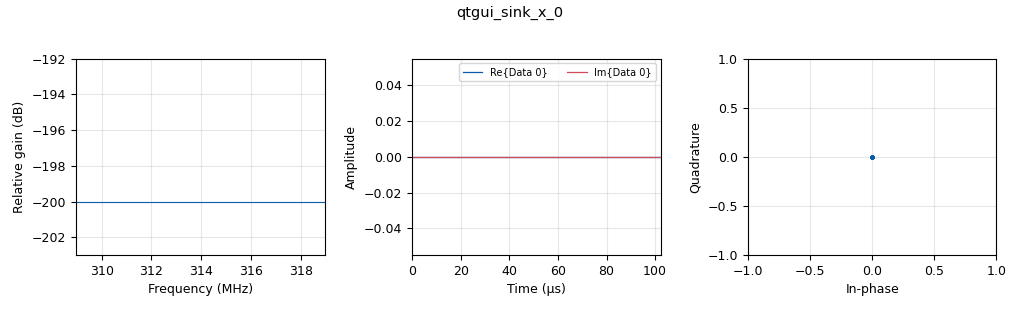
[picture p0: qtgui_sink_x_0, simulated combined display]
options:
  parameters:
    author: kesenheimer
    generate_options: qt_gui
    id: send
    output_language: python
    title: OOK sender
  states: {}

blocks:
- name: carrier
  id: variable
  parameters:
    value: 1e6
  states: {}
- name: freq
  id: variable
  parameters:
    value: '313980000'
  states: {}
- name: gain
  id: variable_qtgui_range
  parameters:
    start: '0.1'
    step: '0.1'
    stop: '10'
    value: '1'
  states: {}
- name: padding
  id: variable
  parameters:
    value: 5*"\x00"
  states: {}
- name: padding_bytes
  id: variable
  parameters:
    value: '[ord(i) for i in padding]'
  states: {}
- name: payload
  id: variable
  parameters:
    value: str("\x84\x21\x08\x42\x10\x84\x21\x08\x42\x10\xee\x84\x21\x08\x42")
  states: {}
- name: payload_bytes
  id: variable
  parameters:
    value: '[ord(i) for i in payload]'
  states: {}
- name: samp_rate
  id: variable
  parameters:
    value: 10e6
  states: {}
- name: samples_per_symbol
  id: variable
  parameters:
    value: '1000'
  states: {}
- name: analog_sig_source_x_0
  id: analog_sig_source_x
  parameters:
    amp: '1'
    freq: carrier
    offset: '0'
    phase: '0'
    samp_rate: samp_rate
    type: complex
    waveform: analog.GR_COS_WAVE
  states: {}
- name: blocks_file_sink_0
  id: blocks_file_sink
  parameters:
    file: simulated_10Msps.raw
    type: complex
  states: {state: disabled}
- name: blocks_float_to_complex_0
  id: blocks_float_to_complex
  parameters: {}
  states: {}
- name: blocks_message_strobe_0
  id: blocks_message_strobe
  parameters:
    msg: pmt.cons(pmt.PMT_NIL, pmt.init_u8vector(len(payload_bytes) + len(padding_bytes), payload_bytes + padding_bytes))
    period: '1000'
  states: {state: disabled}
- name: blocks_multiply_const_vxx_0
  id: blocks_multiply_const_vxx
  parameters:
    const: gain
    type: complex
  states: {}
- name: blocks_multiply_xx_0
  id: blocks_multiply_xx
  parameters:
    type: complex
  states: {}
- name: blocks_null_source_0
  id: blocks_null_source
  parameters:
    type: float
  states: {}
- name: blocks_repeat_0
  id: blocks_repeat
  parameters:
    interp: samples_per_symbol
    type: complex
  states: {}
- name: blocks_uchar_to_float_0
  id: blocks_uchar_to_float
  parameters: {}
  states: {}
- name: blocks_unpack_k_bits_bb_0
  id: blocks_unpack_k_bits_bb
  parameters:
    k: '8'
  states: {}
- name: blocks_vector_source_x_0
  id: blocks_vector_source_x
  parameters:
    repeat: 'True'
    type: byte
    vector: payload_bytes + padding_bytes
  states: {}
- name: iio_pluto_sink_0
  id: iio_pluto_sink
  parameters:
    attenuation1: '0.0'
    bandwidth: '20000000'
    buffer_size: int(samp_rate)
    cyclic: 'False'
    filter_source: '''Auto'''
    frequency: freq
    samplerate: int(samp_rate)
    type: fc32
  states: {}
- name: import_0
  id: import
  parameters:
    imports: import numpy as np
  states: {}
- name: pdu_pdu_to_stream_x_0
  id: pdu_pdu_to_stream_x
  parameters:
    depth: len(payload)+len(padding)
    early_behavior: pdu.EARLY_BURST_APPEND
    type: byte
  states: {state: disabled}
- name: qtgui_sink_x_0
  id: qtgui_sink_x
  parameters:
    bw: samp_rate
    fc: freq
    fftsize: '1024'
    type: complex
  states: {}
- name: soapy_hackrf_sink_0
  id: soapy_hackrf_sink
  parameters:
    bandwidth: samp_rate
    center_freq: freq
    samp_rate: samp_rate
    type: fc32
    vga: '47'
  states: {state: disabled}

connections:
- [analog_sig_source_x_0, '0', blocks_multiply_xx_0, '1']
- [blocks_float_to_complex_0, '0', blocks_repeat_0, '0']
- [blocks_message_strobe_0, strobe, pdu_pdu_to_stream_x_0, pdus]
- [blocks_multiply_const_vxx_0, '0', iio_pluto_sink_0, '0']
- [blocks_multiply_const_vxx_0, '0', qtgui_sink_x_0, '0']
- [blocks_multiply_const_vxx_0, '0', soapy_hackrf_sink_0, '0']
- [blocks_multiply_xx_0, '0', blocks_file_sink_0, '0']
- [blocks_multiply_xx_0, '0', blocks_multiply_const_vxx_0, '0']
- [blocks_null_source_0, '0', blocks_float_to_complex_0, '1']
- [blocks_repeat_0, '0', blocks_multiply_xx_0, '0']
- [blocks_uchar_to_float_0, '0', blocks_float_to_complex_0, '0']
- [blocks_unpack_k_bits_bb_0, '0', blocks_uchar_to_float_0, '0']
- [blocks_vector_source_x_0, '0', blocks_unpack_k_bits_bb_0, '0']
- [pdu_pdu_to_stream_x_0, '0', blocks_unpack_k_bits_bb_0, '0']

metadata:
  file_format: 1
  grc_version: 3.10.8.0
